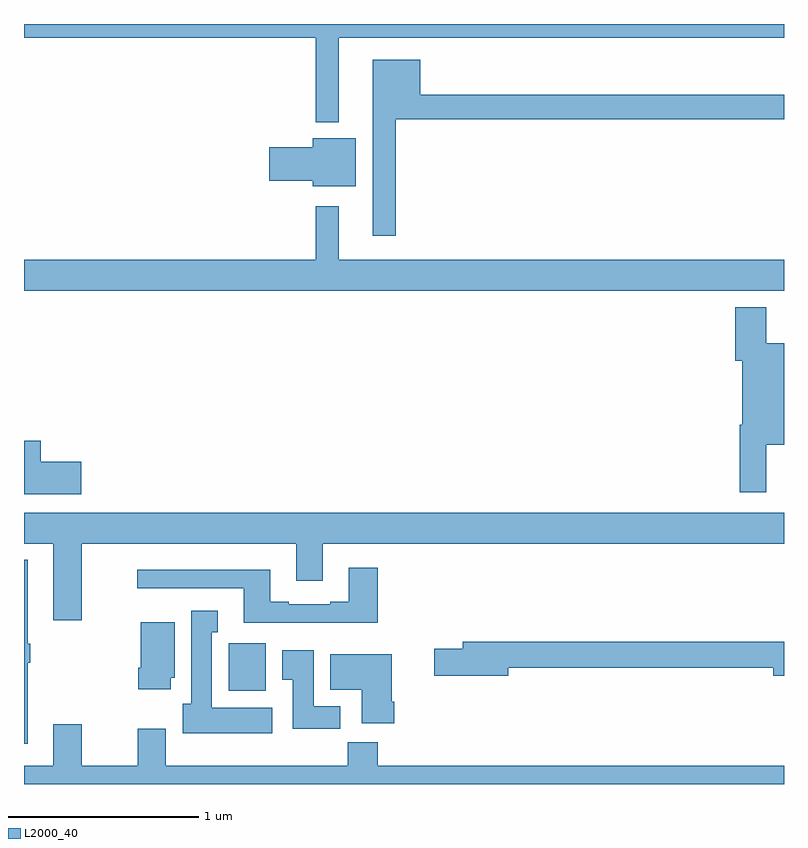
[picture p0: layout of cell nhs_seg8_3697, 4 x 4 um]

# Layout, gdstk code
import gdstk
lib = gdstk.Library(unit=1e-6, precision=1e-09)
def R(c, l, rs):  # rectangles x0, y0, x1, y1
    for r in rs: c.add(gdstk.rectangle(r[:2], r[2:], *l))
def P(c, l, *ps):  # polygons
    for p in ps: c.add(gdstk.Polygon(p, *l))
L2000_40 = (2000, 40)

nhs_seg8_3697 = lib.new_cell('nhs_seg8_3697')
R(nhs_seg8_3697, L2000_40, [(340.077,1118.39,340.273,1118.64)])
P(nhs_seg8_3697, L2000_40, [(340.657,1121.828),(343,1121.828),(343,1121.9),(339,1121.9),(339,1121.828),(340.536,1121.828),(340.536,1121.384),(340.657,1121.384)],
  [(340.957,1121.398),(343,1121.398),(343,1121.527),(341.086,1121.527),(341.086,1121.713),(340.835,1121.713),(340.835,1120.785),(340.957,1120.785)],
  [(340.747,1121.299),(340.52,1121.299),(340.52,1121.252),(340.29,1121.252),(340.29,1121.074),(340.52,1121.074),(340.52,1121.045),(340.747,1121.045)],
  [(343,1120.66),(340.657,1120.66),(340.657,1120.942),(340.536,1120.942),(340.536,1120.66),(339,1120.66),(339,1120.496),(343,1120.496)],
  [(342.907,1119.686),(343,1119.686),(343,1120.221),(342.907,1120.221),(342.907,1120.408),(342.743,1120.408),(342.743,1120.128),(342.779,1120.128),(342.779,1119.79),(342.767,1119.79),(342.767,1119.435),(342.907,1119.435)],
  [(339.301,1119.596),(339.088,1119.596),(339.088,1119.706),(339,1119.706),(339,1119.425),(339.301,1119.425)],
  [(339.303,1119.164),(340.433,1119.164),(340.433,1118.97),(340.573,1118.97),(340.573,1119.164),(343,1119.164),(343,1119.328),(339,1119.328),(339,1119.164),(339.155,1119.164),(339.155,1118.763),(339.303,1118.763)],
  [(339.019,1118.537),(339.032,1118.537),(339.032,1118.637),(339.019,1118.637),(339.019,1119.079),(339,1119.079),(339,1118.112),(339.019,1118.112)],
  [(340.862,1119.037),(340.709,1119.037),(340.709,1118.86),(340.613,1118.86),(340.613,1118.847),(340.393,1118.847),(340.393,1118.86),(340.297,1118.86),(340.297,1119.028),(339.597,1119.028),(339.597,1118.931),(340.157,1118.931),(340.157,1118.75),(340.862,1118.75)],
  [(340.306,1118.302),(339.988,1118.302),(339.988,1118.699),(340.021,1118.699),(340.021,1118.812),(339.881,1118.812),(339.881,1118.322),(339.836,1118.322),(339.836,1118.168),(340.306,1118.168)],
  [(339.772,1118.46),(339.793,1118.46),(339.793,1118.752),(339.614,1118.752),(339.614,1118.512),(339.602,1118.512),(339.602,1118.4),(339.772,1118.4)],
  [(341.548,1118.512),(342.944,1118.512),(342.944,1118.47),(343,1118.47),(343,1118.648),(341.309,1118.648),(341.309,1118.612),(341.16,1118.612),(341.16,1118.47),(341.548,1118.47)],
  [(340.664,1118.308),(340.525,1118.308),(340.525,1118.605),(340.358,1118.605),(340.358,1118.449),(340.415,1118.449),(340.415,1118.19),(340.664,1118.19)],
  [(340.949,1118.332),(340.936,1118.332),(340.936,1118.584),(340.613,1118.584),(340.613,1118.396),(340.778,1118.396),(340.778,1118.22),(340.949,1118.22)],
  [(343,1117.996),(340.862,1117.996),(340.862,1118.12),(340.705,1118.12),(340.705,1117.996),(339.745,1117.996),(339.745,1118.191),(339.598,1118.191),(339.598,1117.996),(339.303,1117.996),(339.303,1118.215),(339.155,1118.215),(339.155,1117.996),(339,1117.996),(339,1117.9),(343,1117.9)])

lib.write_gds('nhs_seg8_3697.gds')
